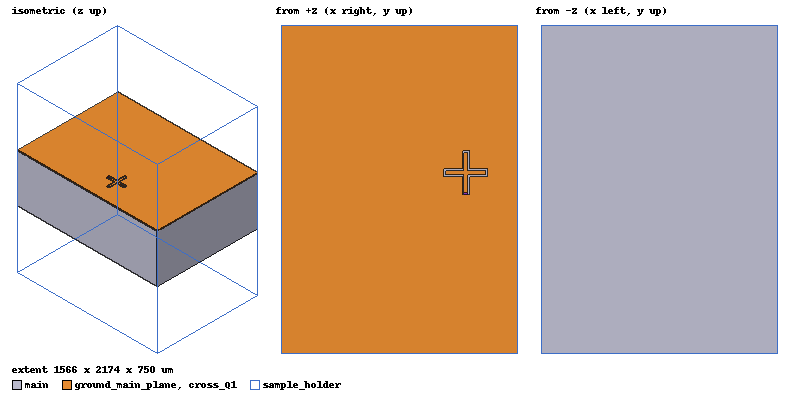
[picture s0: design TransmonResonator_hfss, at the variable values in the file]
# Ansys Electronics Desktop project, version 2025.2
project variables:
  $cross_length = 264.24um
  $cross_gap = 12um
  $cross_width = 24um
  $claw_width_side = 24um
  $claw_width_2 = 10um
  $claw_gap = 6um
  $claw_length = 116um
  $gap = 8um
  $claw_length_2 = 28um
  $gap_side = 4um
  $cpw_length = 40um
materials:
  vacuum: permittivity=1
  copper: permeability=0.999991 conductivity=58000000
  silicon: permittivity=11.9
  pec: conductivity=1e+30

design TransmonResonator_hfss (HFSS, Eigenmode, model units um)
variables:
  Lj = 11.8nH
  Cj = 0fF
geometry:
  cut_resonator = polyline((-0.000411, -0.001, 0) (-0.000389, -0.001, 0))
  cross_Q1 = polyline(z=0, xy: (0.00026788, -1.2e-05) (0.00026788, 1.2e-05) (0.000388, 1.2e-05) (0.000388, 0.00013212) (0.000412, 0.00013212) (0.000412, 1.2e-05) (0.00053212, 1.2e-05) (0.00053212, -1.2e-05) (0.000412, -1.2e-05) (0.000412, -0.00013212) (0.000388, -0.00013212) (0.000388, -1.2e-05) (0.00026788, -1.2e-05), closed, covered)
  cross_etch_Q1 = polyline(z=0, xy: (0.00025588, -2.4e-05) (0.00025588, 2.4e-05) (0.000376, 2.4e-05) (0.000376, 0.00014412) (0.000424, 0.00014412) (0.000424, 2.4e-05) (0.00054412, 2.4e-05) (0.00054412, -2.4e-05) (0.000424, -2.4e-05) (0.000424, -0.00014412) (0.000376, -0.00014412) (0.000376, -2.4e-05) (0.00025588, -2.4e-05), closed, covered)
  JJ_rect_Lj_Q1_rect_jj = rectangle(corner=(0.000388, -0.00014412, 0), x_size=2.4e-05, y_size=1.2e-05)
  JJ_Lj_Q1_rect_jj_ = polyline((0.0004, -0.00014412, 0) (0.0004, -0.00013212, 0))
  ground_main_plane = rectangle(corner=(-0.00082179166, -0.0012, 0), x_size=0.0015659117, y_size=0.002174)
  main [silicon] = box(corner=(-0.00082179166, -0.0012, -0.00075), size=(0.0015659117, 0.002174, 0.00075))
  sample_holder [vacuum] = box(corner=(-0.00082179166, -0.0012, -0.00165), size=(0.0015659117, 0.002174, 0.00254))
  ground_main_plane.subtract(cross_etch_Q1)
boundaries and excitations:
  Lj_Lj_Q1_rect_jj: Lumped RLC Objects=JJ_rect_Lj_Q1_rect_jj CurrentLine{(399, -132.12, 0) -> (400.85, -144.12, 0)} RLC_Type=Parallel Inductance=6.85nH
  PerfE: Perfect E Objects=[cross_Q1, ground_main_plane]
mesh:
  small_mesh: LengthBased Objects=JJ_rect_Lj_Q1_rect_jj MaxLength=7um
  Length1: LengthBased Objects=JJ_rect_Lj_Q1_rect_jj MaxLength=2um
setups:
  Setup1: HfssEigen MinimumFrequency=4GHz NumModes=1 MaxDeltaFreq=1 ConvergeOnRealFreq=false MaximumPasses=10 MinimumPasses=1 MinimumConvergedPasses=1 PercentRefinement=30 BasisOrder=1
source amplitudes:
  #-10:1: 1 0deg
